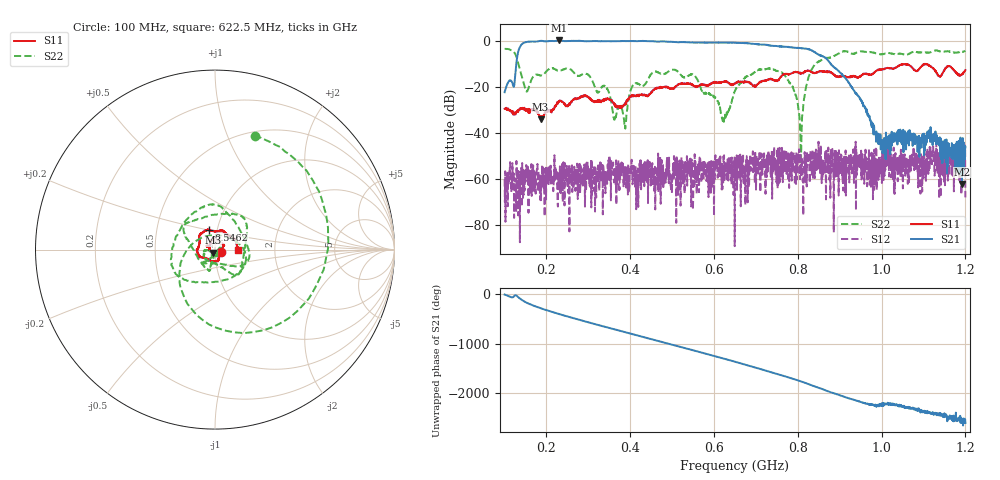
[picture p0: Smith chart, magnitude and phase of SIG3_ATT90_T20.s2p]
# Hz S DB R 50
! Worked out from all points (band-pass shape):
!   1601 points, 100 MHz to 1.2 GHz, reference 50 ohm
!   highest |S21| = 0.25 dB at 229.2 MHz (marker M1); lowest = -62.2 dB at 1.192 GHz (marker M2)
!   |S21| within 3 dB of the highest: 136.1 MHz to 783.8 MHz (647.7 MHz wide, 141 % of centre); 785.0927 MHz to 785.5713 MHz (478.6 kHz wide, 0.0609 % of centre)
!   lowest |S11| = -34.0 dB at 185.9 MHz (marker M3), VSWR 1.04, Z = 48.9 - j1.62 ohm
!   |S11| at or under -10 dB: start of sweep to 1.103 GHz; 1.103445 GHz to 1.104233 GHz (787.4 kHz wide, 0.0713 % of centre); 1.106 GHz to end of sweep (the widest 3 of 4)
!   |S22| runs from -53.3 to -3.4 dB; largest |S21 - S12| = 1
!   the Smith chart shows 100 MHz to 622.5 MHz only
!   S11 on the Smith chart (normalised r, x): 100 MHz: 1.07, -0.02; 546.2 MHz: 0.91, +0.20; 622.5 MHz: 1.30, -0.01
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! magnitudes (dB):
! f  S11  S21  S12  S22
! 100 MHz  -29.4  -22.2  -60.2  -3.4
! 124.8 MHz  -31.6  -16.2  -62.2  -5.4
! 135.1 MHz  -30.1  -3.2  -72.2  -11.4
! 151.6 MHz  -29.6  -0.5  -53.9  -21.8
! 185.9 MHz  -34.0  0.1  -58.9  -15.0
! 229.2 MHz  -26.6  0.3  -57.7  -13.0
! 283.6 MHz  -24.2  0.0  -55.5  -14.7
! 342 MHz  -25.6  0.0  -57.0  -19.8
! 386.7 MHz  -27.2  0.0  -56.0  -37.0
! 406.6 MHz  -23.4  0.0  -57.1  -19.2
! 467.1 MHz  -20.4  -0.2  -65.9  -13.7
! 546.2 MHz  -18.8  -0.6  -51.6  -14.6
! 622.5 MHz  -17.8  -0.7  -50.1  -33.6
! 650 MHz  -18.5  -0.7  -51.0  -21.6
! 759.3 MHz  -15.6  -2.3  -59.1  -13.4
! 792.3 MHz  -13.5  -2.9  -58.0  -21.6
! 806.8 MHz  -14.3  -3.1  -52.5  -46.8
! 833.6 MHz  -13.5  -4.1  -58.1  -12.2
! 1.017 GHz  -11.8  -44.3  -53.8  -5.2
! 1.115 GHz  -10.8  -41.6  -46.1  -5.0
! 1.192 GHz  -14.5  -62.2  -45.2  -4.6
! 1.2 GHz  -12.6  -46.2  -68.0  -4.3
